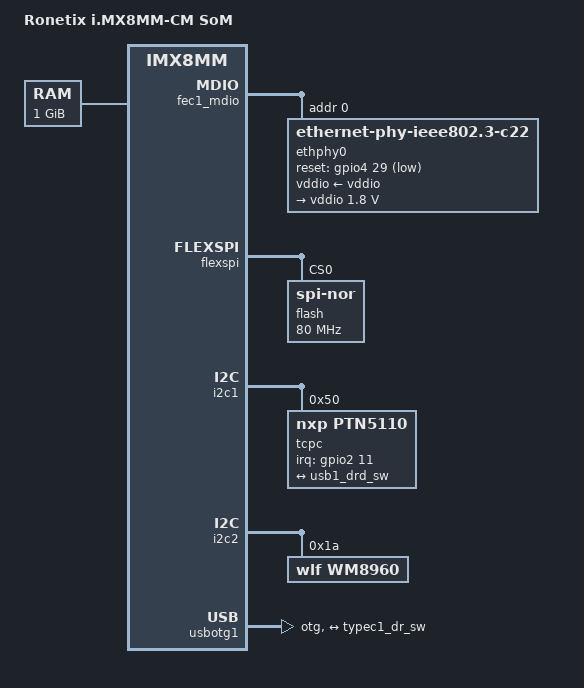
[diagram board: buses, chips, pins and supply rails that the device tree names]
// SPDX-License-Identifier: (GPL-2.0+ OR MIT)
/*
 * Copyright 2021-2026 Ronetix GmbH
 */

/dts-v1/;

#include <dt-bindings/usb/pd.h>
#include "imx8mm.dtsi"
#include "imx8mm-ronetix.dtsi"

/ {
	model = "Ronetix i.MX8MM-CM SoM";
	compatible = "ronetix,imx8mm-cm", "fsl,imx8mm";

	memory@40000000 {
		device_type = "memory";
		reg = <0x0 0x40000000 0 0x40000000>;
	};

	reserved-memory {
		#address-cells = <2>;
		#size-cells = <2>;
		ranges;

		/* global autoconfigured region for contiguous allocations */
		linux,cma {
			compatible = "shared-dma-pool";
			reusable;
			size = <0 0x04000000>;	/* 64 MiB */
			alloc-ranges = <0 0x40000000 0 0x40000000>;
			linux,cma-default;
		};
	};

	sound-wm8960 {
		compatible = "fsl,imx-audio-wm8960";
		model = "wm8960-audio";
		audio-cpu = <&sai3>;
		audio-codec = <&wm8960>;
		audio-routing =
			"Headphone Jack", "HP_L",
			"Headphone Jack", "HP_R",
			"Ext Spk", "SPK_LP",
			"Ext Spk", "SPK_LN",
			"Ext Spk", "SPK_RP",
			"Ext Spk", "SPK_RN",
			"LINPUT1", "Mic Jack",
			"Mic Jack", "MICB";
	};
};

&fec1_mdio {
	/* AR8031 */
	ethphy0: ethernet-phy@0 {
		compatible = "ethernet-phy-ieee802.3-c22";
		reg = <0>;
		reset-gpios = <&gpio4 29 GPIO_ACTIVE_LOW>;
		reset-assert-us = <10000>;
		reset-deassert-us = <50000>;
		qca,disable-smarteee;
		eee-broken-100tx;
		eee-broken-1000t;
		vddio-supply = <&vddio>;

		vddio: vddio-regulator {
			regulator-min-microvolt = <1800000>;
			regulator-max-microvolt = <1800000>;
		};
	};
};

&flexspi {
	status = "okay";

	flash@0 {
		compatible = "jedec,spi-nor";
		reg = <0>;
		#address-cells = <1>;
		#size-cells = <1>;
		spi-max-frequency = <80000000>;
		spi-tx-bus-width = <4>;
		spi-rx-bus-width = <4>;
	};
};

&i2c1 {
	tcpc@50 {
		compatible = "nxp,ptn5110", "tcpci";
		reg = <0x50>;
		pinctrl-names = "default";
		pinctrl-0 = <&pinctrl_typec1>;
		interrupt-parent = <&gpio2>;
		interrupts = <11 IRQ_TYPE_LEVEL_LOW>;

		connector {
			compatible = "usb-c-connector";
			label = "USB-C";
			power-role = "dual";
			data-role = "dual";
			try-power-role = "sink";
			source-pdos = <PDO_FIXED(5000, 3000, PDO_FIXED_USB_COMM)>;
			sink-pdos = <PDO_FIXED(5000, 3000, PDO_FIXED_USB_COMM)
				     PDO_VAR(5000, 20000, 3000)>;
			op-sink-microwatt = <15000000>;
			self-powered;

			port {
				typec1_dr_sw: endpoint {
					remote-endpoint = <&usb1_drd_sw>;
				};
			};
		};
	};
};

&i2c2 {
	wm8960: audio-codec@1a {
		compatible = "wlf,wm8960";
		reg = <0x1a>;
		#sound-dai-cells = <0>;
		clocks = <&clk IMX8MM_CLK_SAI3_ROOT>;
		clock-names = "mclk";
		wlf,shared-lrclk;
	};
};

&usbotg1 {
	dr_mode = "otg";
	hnp-disable;
	srp-disable;
	adp-disable;
	usb-role-switch;
	samsung,picophy-pre-emp-curr-control = <3>;
	samsung,picophy-dc-vol-level-adjust = <7>;
	status = "okay";

	port {
		usb1_drd_sw: endpoint {
			remote-endpoint = <&typec1_dr_sw>;
		};
	};
};

&iomuxc {
	pinctrl_pcie0: pcie0grp {
		fsl,pins = <
			MX8MM_IOMUXC_I2C4_SDA_PCIE2_CLKREQ_B		0x61	/* PCIe_CLKREQ, open drain, pull up */
			MX8MM_IOMUXC_GPIO1_IO09_GPIO1_IO9		0x41	/* PCIe_nDIS */
			MX8MM_IOMUXC_SAI2_RXFS_GPIO4_IO21		0x41	/* PCIe_nRST */
		>;
	};

	pinctrl_typec1: typec1grp {
		fsl,pins = <
			MX8MM_IOMUXC_SD1_STROBE_GPIO2_IO11		0x159
		>;
	};
};
